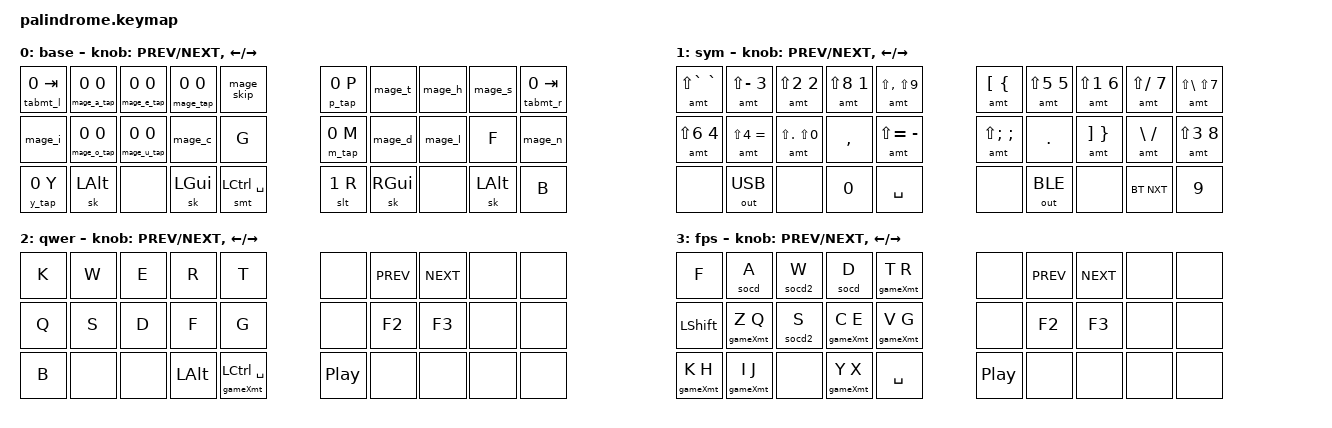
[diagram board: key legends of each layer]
#include "custom_behaviors.h"

/ { keymap { compatible = "zmk,keymap";

/* ┌─────────────────┐┌─────────────────┐	|	┌─────────────────┐┌─────────────────┐	|	┌─────────────────┐┌─────────────────┐	|	┌─────────────────┐┌─────────────────┐	|	┌─────────────────┐┌─────────────────┐ */
/* |  ▸  A  E  ⧫  ◊  ||  p  T  H  S  ▸  |	|	|  `~ 3_ 2@ 1* (< || {[ 5% 6! 7? &|  |	|	|  k  w  e  r  t  ||    pv nx        |	|	|  f  a  w  d  rt ||    pv nx        |	|	|     ←  ↓  →     ||     h  s  k     | */
/* |  I  o  u  c  g  ||  m  d  l  f  N  |	|	|  4^ =$ )> ,  -+ || ;: .  }] /\ 8#  |	|	|  q  s  d  f  g  ||    f2 f3        |	|	|  ▴  qz s  ec gv ||    f2 f3        |	|	|  d  _  _  _  _  ||  _  _  _  _  p  | */
/* |  y  ▾  ●  ▴  _  ||  R≡ ▴  ●  ▾  b  |	|	|        ●  0  _  || ≡      ●    9   |	|	|  b     ●  ▾  _  || pp     ●        |	|	|  hk ji ●  xy _  || pp     ●        |	|	|        ●     ↑  ||  r     ●        | */
/* └─────────────────┘└─────────────────┘	|	└─────────────────┘└─────────────────┘	|	└─────────────────┘└─────────────────┘	|	└─────────────────┘└─────────────────┘	|	└─────────────────┘└─────────────────┘ */
/*    prev ←●→ next      left ←●→ right     |      prev ←●→ next      left ←●→ right    |      prev ←●→ next      left ←●→ right    |      prev ←●→ next      left ←●→ right    |      prev ←●→ next      left ←●→ right   */

/*────────────────────────────────────────────────────────────────────────────────────────────────────────────────────────────────────────────────────────────────────────────────────────────────────────────────────────────────────────────────────────────*/

zero 
	{ display-name = "base"; bindings = <
	/*┌────────────────────┬─────────────────────┬─────────────────────┬───────────────────┬──────────────────────┐															 ┌────────────────┬──────────────┬─────────────┬──────────────┬────────────────────┐*/ 
	/*│*/ &tabmt_l 0 TAB /*│*/ &mage_a_tap 0 0 /*│*/ &mage_e_tap 0 0 /*│*/ &mage_tap 0 0 /*│*/ &mage_skip 		/*│															 │*/ &p_tap 0 P /*│*/ &mage_t  /*│*/ &mage_h /*│*/ &mage_s  /*│*/ &tabmt_r 0 TAB /*│*/ 
    /*│*/ &mage_i 	     /*│*/ &mage_o_tap 0 0 /*│*/ &mage_u_tap 0 0 /*│*/ &mage_c	     /*│*/ &kp G 	  		/*│															 │*/ &m_tap 0 M /*│*/ &mage_d  /*│*/ &mage_l /*│*/ &kp F 	/*│*/ &mage_n        /*│*/ 
	/*│*/ &y_tap 0 Y     /*│*/ &sk LALT 	   /*│*/ &none	 	     /*│*/ &sk LGUI 	 /*│*/ &smt LCTRL SPACE /*│															 │*/ &slt 1 R   /*│*/ &sk RGUI /*│*/ &none 	 /*│*/ &sk LALT /*│*/ &kp B		     /*│*/
	/*└────────────────────┴─────────────────────┴─────────────────────┴───────────────────┴──────────────────────┘															 └────────────────┴──────────────┴─────────────┴──────────────┴────────────────────┘*/
	>; sensor-bindings = < &inc_dec_kp C_PREV C_NEXT &inc_dec_kp LEFT RIGHT >; };

/*────────────────────────────────────────────────────────────────────────────────────────────────────────────────────────────────────────────────────────────────────────────────────────────────────────────────────────────────────────────────────────────*/

one 
	{ display-name = "sym"; bindings = <
	/*┌──────────────────────────┬───────────────────────┬─────────────────────────┬────────────────────┬───────────────────────────┐	┌────────────────────────┬────────────────────┬────────────────────┬──────────────────────┬──────────────────────────┐*/  
	/*│*/ &amt LS(GRAVE) GRAVE /*│*/ &amt LS(MINUS) N3 /*│*/ &amt LS(N2) N2 	 /*│*/ &amt LS(N8) N1 /*│*/ &amt LS(COMMA) LS(N9) /*│	│*/ &amt LBKT LBRC 	   /*│*/ &amt LS(N5) N5 /*│*/ &amt LS(N1) N6 /*│*/ &amt LS(FSLH) N7 /*│*/ &amt LS(BSLH) LS(N7) /*│*/
    /*│*/ &amt LS(N6) N4 	   /*│*/ &amt LS(N4) EQUAL /*│*/ &amt LS(DOT) LS(N0) /*│*/ &kp COMMA 	  /*│*/ &amt LS(EQUAL) MINUS  /*│	│*/ &amt LS(SEMI) SEMI /*│*/ &kp DOT 		/*│*/ &amt RBKT RBRC /*│*/ &amt BSLH FSLH 	/*│*/ &amt LS(N3) N8 	   /*│*/
    /*│*/ &none 			   /*│*/ &out OUT_USB	   /*│*/ &none 				 /*│*/ &kp N0		  /*│*/ &kp SPACE      		  /*│	│*/ &none 		   	   /*│*/ &out OUT_BLE	/*│*/ &none			 /*│*/ &bt BT_NXT		/*│*/ &kp N9  			   /*│*/
    /*└──────────────────────────┴───────────────────────┴─────────────────────────┴────────────────────┴───────────────────────────┘	└────────────────────────┴────────────────────┴────────────────────┴──────────────────────┴──────────────────────────┘*/ 
	>; sensor-bindings = < &inc_dec_kp C_PREV C_NEXT &inc_dec_kp LEFT RIGHT >; };

/*────────────────────────────────────────────────────────────────────────────────────────────────────────────────────────────────────────────────────────────────────────────────────────────────────────────────────────────────────────────────────────────*/

two 
	{ display-name = "qwer"; bindings = <
	/*┌───────────┬───────────┬───────────┬──────────────┬──────────────────────────┐																								┌──────────────┬────────────────┬────────────────┬───────────┬───────────┐*/
	/*│*/ &kp K /*│*/ &kp W /*│*/ &kp E /*│*/ &kp R    /*│*/ &kp T 				  /*│																								│*/ &none 	 /*│*/ &kp C_PREV /*│*/ &kp C_NEXT /*│*/ &none /*│*/ &none /*│*/
    /*│*/ &kp Q /*│*/ &kp S /*│*/ &kp D /*│*/ &kp F	   /*│*/ &kp G 		  		  /*│																								│*/ &none 	 /*│*/ &kp F2	  /*│*/ &kp F3	   /*│*/ &none /*│*/ &none /*│*/
    /*│*/ &kp B /*│*/ &none /*│*/ &none /*│*/ &kp LALT /*│*/ &gameXmt LCTRL SPACE /*│																								│*/ &kp C_PP /*│*/ &none	  /*│*/ &none	   /*│*/ &none /*│*/ &none /*│*/
	/*└───────────┴───────────┴───────────┴──────────────┴──────────────────────────┘																								└──────────────┴────────────────┴────────────────┴───────────┴───────────┘*/
	>; sensor-bindings = < &inc_dec_kp C_PREV C_NEXT &inc_dec_kp LEFT RIGHT >; };

/*────────────────────────────────────────────────────────────────────────────────────────────────────────────────────────────────────────────────────────────────────────────────────────────────────────────────────────────────────────────────────────────*/

three 
	{ display-name = "fps"; bindings = <
	/*┌──────────────────┬──────────────────┬──────────────┬──────────────────┬──────────────────┐																				┌──────────────┬────────────────┬────────────────┬───────────┬───────────┐*/
	/*│*/ &kp F 	   /*│*/ &socd A 	  /*│*/ &socd2 W /*│*/ &socd D		/*│*/ &gameXmt T R /*│																				│*/	&none 	 /*│*/ &kp C_PREV /*│*/ &kp C_NEXT /*│*/ &none /*│*/ &none /*│*/
    /*│*/ &kp LSHIFT    /*│*/ &gameXmt Z Q /*│*/ &socd2 S /*│*/ &gameXmt C E /*│*/ &gameXmt V G /*│																				│*/ &none 	 /*│*/ &kp F2	  /*│*/ &kp F3	   /*│*/ &none /*│*/ &none /*│*/
    /*│*/ &gameXmt K H /*│*/ &gameXmt I J /*│*/ &none 	 /*│*/ &gameXmt Y X /*│*/ &kp SPACE    /*│																				│*/ &kp C_PP /*│*/ &none      /*│*/ &none	   /*│*/ &none /*│*/ &none /*│*/
	/*└──────────────────┴──────────────────┴──────────────┴──────────────────┴──────────────────┘																				└──────────────┴────────────────┴────────────────┴───────────┴───────────┘*/
	>; sensor-bindings = < &inc_dec_kp C_PREV C_NEXT &inc_dec_kp LEFT RIGHT >; }; };

/*────────────────────────────────────────────────────────────────────────────────────────────────────────────────────────────────────────────────────────────────────────────────────────────────────────────────────────────────────────────────────────────*/

four 
	{ display-name = "fg"; bindings = <
	/*┌────────────┬──────────────┬────────────┬──────────────┬────────────┐																												┌────────────┬────────────┬────────────┬────────────┬────────────┐*/
	/*│*/ &none  /*│*/ &socd N1 /*│*/ &kp N2 /*│*/ &socd N3 /*│*/ &none  /*│																												│*/ &none  /*│*/ &kp N6 /*│*/ &kp N7 /*│*/ &kp N8 /*│*/ &none  /*│*/
    /*│*/ &kp N0 /*│*/ &kp A    /*│*/ &kp B  /*│*/ &kp C    /*│*/ &kp D  /*│																												│*/ &kp E  /*│*/ &kp F	/*│*/ &kp G	 /*│*/ &kp H  /*│*/ &kp N9 /*│*/
    /*│*/ &none  /*│*/ &none    /*│*/ &none  /*│*/ &none    /*│*/ &kp N4 /*│																												│*/ &kp N5 /*│*/ &none	/*│*/ &none	 /*│*/ &none  /*│*/ &none  /*│*/
	/*└────────────┴──────────────┴────────────┴──────────────┴────────────┘																												└────────────┴────────────┴────────────┴────────────┴────────────┘*/
	>; sensor-bindings = < &inc_dec_kp C_PREV C_NEXT &inc_dec_kp LEFT RIGHT >; };

/*────────────────────────────────────────────────────────────────────────────────────────────────────────────────────────────────────────────────────────────────────────────────────────────────────────────────────────────────────────────────────────────*/
combos 
	{ compatible = "zmk,combos";

    /*┌─── alphas ────────────────────────────────────────────────────────────────────────────────────────┐*/
	/*│*/ cbo_x { timeout-ms = <40>; key-positions = < 1 11 >; bindings = < &kp X >; layers = < 0 >; }; /*│*/
	/*│*/ cbo_q { timeout-ms = <40>; key-positions = < 2 12 >; bindings = < &kp Q >; layers = < 0 >; }; /*│*/
	/*│*/ cbo_w { timeout-ms = <40>; key-positions = < 4 14 >; bindings = < &kp W >; layers = < 0 >; }; /*│*/
	/*│*/ cbo_k { timeout-ms = <40>; key-positions = < 5 15 >; bindings = < &kp K >; layers = < 0 >; }; /*│*/
	/*│*/ cbo_j { timeout-ms = <40>; key-positions = < 7 17 >; bindings = < &kp J >; layers = < 0 >; }; /*│*/
	/*│*/ cbo_v { timeout-ms = <40>; key-positions = < 8 18 >; bindings = < &kp V >; layers = < 0 >; }; /*│*/
	/*└───────────────────────────────────────────────────────────────────────────────────────────────────┘*/

	/*┌─── symbols ──────────────────────────────────────────────────────────────────────────────────────────────────────────┐*/
	/*│*/ u_cbo_left  { timeout-ms = <25>; key-positions = < 10 6  >; bindings = < &uc 0x2190 0x2190 >; layers = < 1 >; }; /*│*/
	/*│*/ u_cbo_up 	  { timeout-ms = <25>; key-positions = < 2 7   >; bindings = < &uc 0x2191 0x2191 >; layers = < 1 >; }; /*│*/
	/*│*/ u_cbo_down  { timeout-ms = <25>; key-positions = < 1 8   >; bindings = < &uc 0x2193 0x2193 >; layers = < 1 >; }; /*│*/
	/*│*/ u_cbo_right { timeout-ms = <25>; key-positions = < 3 19  >; bindings = < &uc 0x2192 0x2192 >; layers = < 1 >; }; /*│*/
	/*│*/ cbo_dqt	  { timeout-ms = <40>; key-positions = < 6 16  >; bindings = < &kp LS(APOS)	     >; layers = < 1 >; }; /*│*/
	/*│*/ cbo_sqt	  { timeout-ms = <40>; key-positions = < 3 13  >; bindings = < &kp APOS		     >; layers = < 1 >; }; /*│*/
	/*└──────────────────────────────────────────────────────────────────────────────────────────────────────────────────────┘*/

	/*┌─── mods ──────────────────────────────────────────────────────────────────────────────────────────────────────────────────────────────────────────────┐*/
	/*│*/ cbo_shift_l { timeout-ms = <20>; key-positions = < 3 13  >; bindings = < &sk LSHIFT		  >; layers = < 0 	>; require-prior-idle-ms = <50>; }; /*│*/
	/*│*/ cbo_shift_r { timeout-ms = <20>; key-positions = < 6 16  >; bindings = < &sk RSHIFT		  >; layers = < 0  	>; require-prior-idle-ms = <50>; }; /*│*/
	/*│*/ cbo_del_l	  { timeout-ms = <20>; key-positions = < 2 3   >; bindings = < &amt LC(DEL) DEL	  >; layers = < 0 1 >; require-prior-idle-ms = <50>; }; /*│*/
	/*│*/ cbo_back_l  { timeout-ms = <20>; key-positions = < 1 3   >; bindings = < &amt RC(BSPC) BSPC >; layers = < 0 1 >; require-prior-idle-ms = <50>; }; /*│*/
	/*│*/ cbo_esc_l	  { timeout-ms = <20>; key-positions = < 1 2 3 >; bindings = < &amt LC(ESC) ESC	  >; layers = < 0 1 >; require-prior-idle-ms = <50>; }; /*│*/
	/*│*/ cbo_enter_l { timeout-ms = <20>; key-positions = < 1 2   >; bindings = < &amt LS(RET) RET	  >; layers = < 0 1 >; require-prior-idle-ms = <50>; }; /*│*/
	/*│*/ cbo_back_r  { timeout-ms = <20>; key-positions = < 6 7   >; bindings = < &amt RC(BSPC) BSPC >; layers = < 0 1 >; require-prior-idle-ms = <50>; }; /*│*/
	/*│*/ cbo_del_r	  { timeout-ms = <20>; key-positions = < 6 8   >; bindings = < &amt LC(DEL) DEL	  >; layers = < 0 1 >; require-prior-idle-ms = <50>; }; /*│*/
	/*│*/ cbo_esc_r	  { timeout-ms = <20>; key-positions = < 6 7 8 >; bindings = < &amt RC(ESC) ESC	  >; layers = < 0 1 >; require-prior-idle-ms = <50>; }; /*│*/
	/*│*/ cbo_enter_r { timeout-ms = <20>; key-positions = < 7 8   >; bindings = < &amt RS(RET) RET	  >; layers = < 0 1 >; require-prior-idle-ms = <50>; }; /*│*/
	/*└ ──────────────────────────────────────────────────────────────────────────────────────────────────────────────────────────────────────────────────────┘*/

	/*┌─── arrows ──────────────────────────────────────────────────────────────────────────────────────────────────────────────────────────────────────────┐*/
	/*│*/ cbo_left  { timeout-ms = <25>; key-positions = < 10 6 >; bindings = < &amt LC(LEFT) LEFT   >; layers = < 0 >; require-prior-idle-ms = <100>; }; /*│*/
	/*│*/ cbo_up 	{ timeout-ms = <25>; key-positions = < 2 7  >; bindings = < &amt LC(UP) UP	     >; layers = < 0 >; require-prior-idle-ms = <100>; }; /*│*/
	/*│*/ cbo_down  { timeout-ms = <25>; key-positions = < 1 8  >; bindings = < &amt LC(DOWN) DOWN   >; layers = < 0 >; require-prior-idle-ms = <100>; }; /*│*/
	/*│*/ cbo_right { timeout-ms = <25>; key-positions = < 3 19 >; bindings = < &amt LC(RIGHT) RIGHT >; layers = < 0 >; require-prior-idle-ms = <100>; }; /*│*/
	/*└─────────────────────────────────────────────────────────────────────────────────────────────────────────────────────────────────────────────────────┘*/

	/*┌─── layers ────────────────────────────────────────────────────────────────────────────────────┐*/
	/*│*/ cbo_default   { timeout-ms = <40>; key-positions = < 2 3 6 7  >; bindings = < &to 0 >; }; /*│*/
	/*│*/ cbo_default_l { timeout-ms = <40>; key-positions = < 1 2 3 10 >; bindings = < &to 0 >; }; /*│*/
	/*│*/ cbo_default_r { timeout-ms = <40>; key-positions = < 6 7 8 19 >; bindings = < &to 0 >; }; /*│*/
	/*│*/ cbo_qwer		{ timeout-ms = <40>; key-positions = < 10 13	>; bindings = < &to 2 >; }; /*│*/
	/*│*/ cbo_fps 		{ timeout-ms = <40>; key-positions = < 11 12 13 >; bindings = < &to 3 >; }; /*│*/
	/*│*/ cbo_fg 		{ timeout-ms = <40>; key-positions = < 16 17 18 >; bindings = < &to 4 >; }; /*│*/
	/*└───────────────────────────────────────────────────────────────────────────────────────────────┘*/

	/*┌─── special ────────────────────────────────────────────────────────────────────────────────────────────────────┐*/
	/*│*/ cbo_numword { timeout-ms = <20>; key-positions = < 10 3 >; bindings = < &num_word 1 >; layers = < 0 >; };  /*│*/
	/*│*/ cbo_capsword { timeout-ms = <20>; key-positions = < 6 19 >; bindings = < &cmt CAPS 0 >; layers = < 0 >; }; /*│*/
	/*│*/ cbo_batt_left { timeout-ms = <20>; key-positions = < 0 24 >; bindings = < &bapp >; layers = < 0 1 >; }; 	 /*│*/
	/*│*/ cbo_batt_right { timeout-ms = <20>; key-positions = < 9 25 >; bindings = < &bapp >; layers = < 0 1 >; }; 	 /*│*/
	/*│*/ cbo_f11 { timeout-ms = <20>; key-positions = < 21 23 >; bindings = < &kp F11 >; layers = < 0 1 >; }; 	 	 /*│*/
	/*└────────────────────────────────────────────────────────────────────────────────────────────────────────────────┘*/

	/*┌─── window/app management ───────────────────────────────────────────────────────────────────────────────────────────────────────────────────────────────────────────┐*/
	/*│*/ cbo_alwaysontop	{ timeout-ms = <20>; key-positions = < 12 13 >; bindings = < &kp LC(LG(T))	   			>; layers = < 0 1 >; require-prior-idle-ms = <50>; }; /*│*/
	/*│*/ cbo_textextractor { timeout-ms = <20>; key-positions = < 16 17 >; bindings = < &kp LC(LG(E))	   			>; layers = < 0 1 >; require-prior-idle-ms = <50>; }; /*│*/
	/*│*/ cbo_dsktop_right  { timeout-ms = <20>; key-positions = < 3 7   >; bindings = < &kp LC(LG(RIGHT)) 			>; layers = < 0 1 >; require-prior-idle-ms = <50>; }; /*│*/
	/*│*/ cbo_dsktop_left	{ timeout-ms = <20>; key-positions = < 2 6   >; bindings = < &kp LC(LG(LEFT))  			>; layers = < 0 1 >; require-prior-idle-ms = <50>; }; /*│*/
	/*│*/ cbo_tab_right	  	{ timeout-ms = <20>; key-positions = < 13 17 >; bindings = < &kp LC(TAB)	   			>; layers = < 0 1 >; require-prior-idle-ms = <50>; }; /*│*/
	/*│*/ cbo_tab_left	  	{ timeout-ms = <20>; key-positions = < 12 16 >; bindings = < &kp LC(LS(TAB))   			>; layers = < 0 1 >; require-prior-idle-ms = <50>; }; /*│*/
	/*│*/ cbo_dc_down	  	{ timeout-ms = <20>; key-positions = < 11 18 >; bindings = < &amt LA(LS(DOWN)) LA(DOWN) >; layers = < 0 1 >; require-prior-idle-ms = <50>; }; /*│*/
	/*│*/ cbo_dc_up	  		{ timeout-ms = <20>; key-positions = < 12 17 >; bindings = < &amt LA(LS(UP)) LA(UP) 	>; layers = < 0 1 >; require-prior-idle-ms = <50>; }; /*│*/
	/*└─────────────────────────────────────────────────────────────────────────────────────────────────────────────────────────────────────────────────────────────────────┘*/

	/*┌─── game ────────────────────────────────────────────────────────────────────────────────────────────────────────────────────┐*/
	/*│*/ g_cbo_discord { timeout-ms = <50>; key-positions = < 0 24  >; bindings = <	&kp LS(GRAVE) >; layers = <	2 3 	>; }; /*│*/
	/*│*/ g_cbo_tab	  	{ timeout-ms = <50>; key-positions = < 1 3   >; bindings = <	&kp TAB		  >; layers = <	2 3 	>; }; /*│*/
	/*│*/ g_cbo_esc	  	{ timeout-ms = <50>; key-positions = < 1 2 3 >; bindings = <	&kp ESC		  >; layers = <	2 3 	>; }; /*│*/
	/*│*/ qwer_cbo_1    { timeout-ms = <75>; key-positions = < 1 11  >; bindings = <	&kp N1		  >; layers = <	2	  	>; }; /*│*/
	/*│*/ qwer_cbo_2    { timeout-ms = <75>; key-positions = < 2 12  >; bindings = <	&kp N2		  >; layers = <	2	  	>; }; /*│*/
	/*│*/ qwer_cbo_3    { timeout-ms = <75>; key-positions = < 3 13  >; bindings = <	&kp N3		  >; layers = <	2	  	>; }; /*│*/
	/*│*/ qwer_cbo_4    { timeout-ms = <75>; key-positions = < 4 14  >; bindings = <	&kp N4		  >; layers = <	2	  	>; }; /*│*/
	/*│*/ fps_cbo_1     { timeout-ms = <75>; key-positions = < 3 13  >; bindings = <	&kp N1		  >; layers = <	3	  	>; }; /*│*/
	/*│*/ fps_cbo_2 	{ timeout-ms = <75>; key-positions = < 1 11  >; bindings = <	&kp N2		  >; layers = <	3	  	>; }; /*│*/
	/*│*/ fps_cbo_b	  	{ timeout-ms = <50>; key-positions = < 12 13 >; bindings = <	&kp B		  >; layers = <	3 >; }; }; }; /*│*/
	/*└─────────────────────────────────────────────────────────────────────────────────────────────────────────────────────────────┘*/

/*────────────────────────────────────────────────────────────────────────────────────────────────────────────────────────────────────────────────────────────────────────────────────────────────────────────────────────────────────────────────────────────*/

